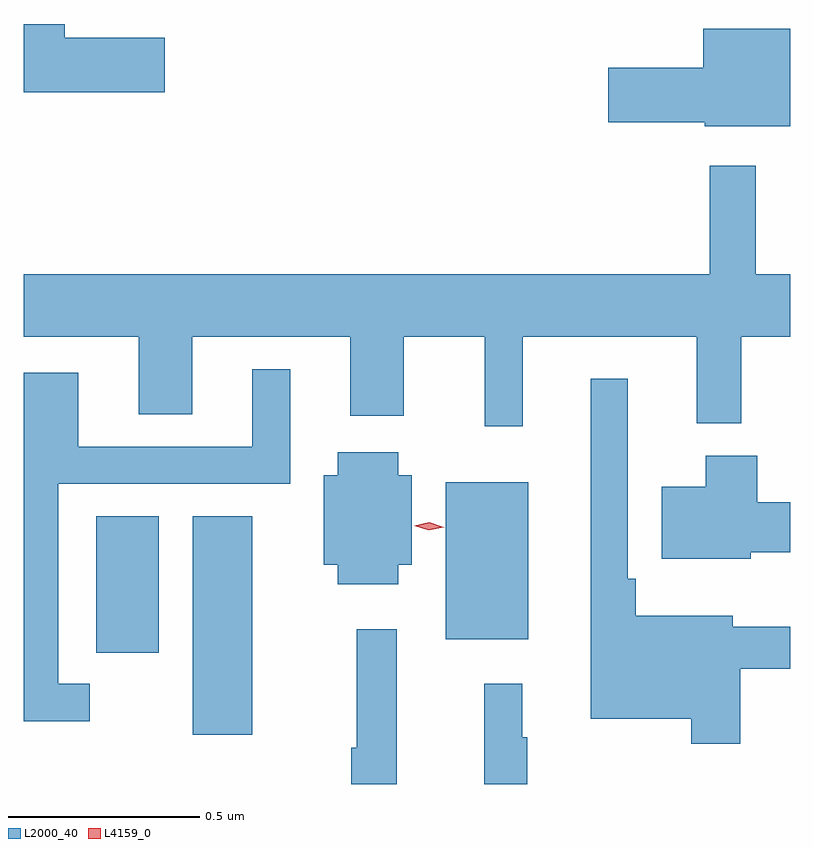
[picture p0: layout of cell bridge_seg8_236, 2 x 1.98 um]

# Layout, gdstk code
import gdstk
lib = gdstk.Library(unit=1e-6, precision=1e-09)
def R(c, l, rs):  # rectangles x0, y0, x1, y1
    for r in rs: c.add(gdstk.rectangle(r[:2], r[2:], *l))
def P(c, l, *ps):  # polygons
    for p in ps: c.add(gdstk.Polygon(p, *l))
L2000_40 = (2000, 40)
L4159_0 = (4159, 0)

bridge_seg8_236 = lib.new_cell('bridge_seg8_236')
R(bridge_seg8_236, L2000_40, [(289.904,1132.779,290.059,1133.348), (289.652,1132.992,289.816,1133.348), (290.564,1133.027,290.779,1133.437)])
P(bridge_seg8_236, L2000_40, [(289.831,1134.596),(289.57,1134.596),(289.57,1134.632),(289.463,1134.632),(289.463,1134.454),(289.831,1134.454)],
  [(291.463,1134.619),(291.236,1134.619),(291.236,1134.518),(290.988,1134.518),(290.988,1134.376),(291.24,1134.376),(291.24,1134.365),(291.463,1134.365)],
  [(290.765,1133.816),(291.218,1133.816),(291.218,1133.591),(291.335,1133.591),(291.335,1133.816),(291.463,1133.816),(291.463,1133.98),(291.373,1133.98),(291.373,1134.262),(291.252,1134.262),(291.252,1133.98),(289.463,1133.98),(289.463,1133.816),(289.763,1133.816),(289.763,1133.614),(289.903,1133.614),(289.903,1133.816),(290.315,1133.816),(290.315,1133.61),(290.455,1133.61),(290.455,1133.816),(290.666,1133.816),(290.666,1133.583),(290.765,1133.583)],
  [(289.636,1132.911),(289.554,1132.911),(289.554,1133.433),(290.158,1133.433),(290.158,1133.731),(290.06,1133.731),(290.06,1133.529),(289.606,1133.529),(289.606,1133.722),(289.463,1133.722),(289.463,1132.814),(289.636,1132.814)],
  [(291.332,1132.95),(291.463,1132.95),(291.463,1133.06),(291.313,1133.06),(291.313,1133.089),(291.059,1133.089),(291.059,1133.185),(291.039,1133.185),(291.039,1133.707),(290.942,1133.707),(290.942,1132.82),(291.204,1132.82),(291.204,1132.755),(291.332,1132.755)],
  [(290.44,1133.222),(290.476,1133.222),(290.476,1133.455),(290.44,1133.455),(290.44,1133.515),(290.282,1133.515),(290.282,1133.455),(290.246,1133.455),(290.246,1133.222),(290.282,1133.222),(290.282,1133.171),(290.44,1133.171)],
  [(291.36,1133.255),(291.463,1133.255),(291.463,1133.385),(291.377,1133.385),(291.377,1133.506),(291.242,1133.506),(291.242,1133.425),(291.128,1133.425),(291.128,1133.237),(291.36,1133.237)],
  [(290.436,1133.053),(290.332,1133.053),(290.332,1132.744),(290.317,1132.744),(290.317,1132.65),(290.436,1132.65)],
  [(290.776,1132.772),(290.764,1132.772),(290.764,1132.912),(290.665,1132.912),(290.665,1132.65),(290.776,1132.65)])
P(bridge_seg8_236, L4159_0, [(290.52,1133.312),(290.482,1133.323),(290.482,1133.323),(290.482,1133.323),(290.521,1133.332),(290.559,1133.32),(290.56,1133.32),(290.559,1133.32)])

lib.write_gds('bridge_seg8_236.gds')
